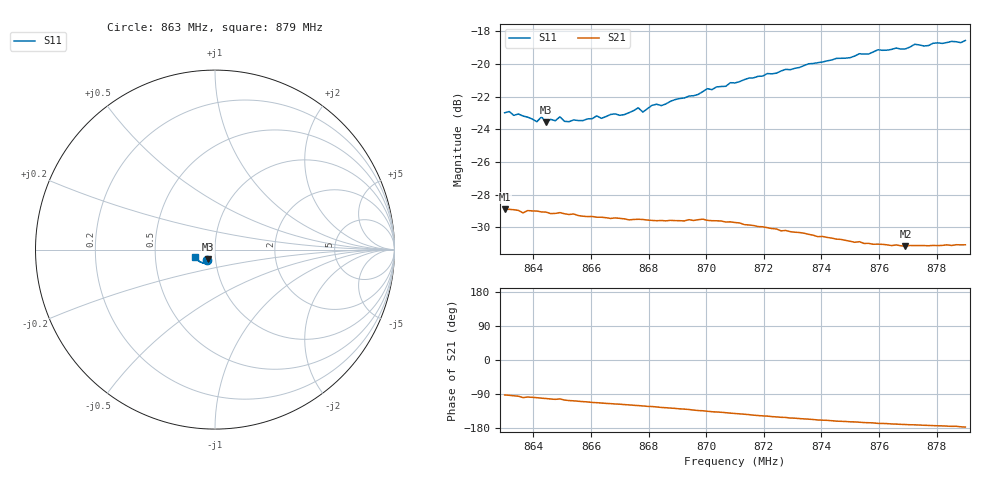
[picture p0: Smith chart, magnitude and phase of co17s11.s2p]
# HZ S RI R 50
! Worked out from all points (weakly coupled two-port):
!   101 points, 863 MHz to 879 MHz, reference 50 ohm
!   highest |S21| = -28.90 dB at 863 MHz (marker M1); lowest = -31.2 dB at 876.92 MHz (marker M2)
!   lowest |S11| = -23.6 dB at 864.44 MHz (marker M3), VSWR 1.14, Z = 46 - j5.01 ohm
!   |S11| at or under -10 dB: start of sweep to end of sweep
!   S12 and S22 are empty: the file has one direction only
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8.63e8  -0.0442 -0.0554  -0.00141 -0.0359  0 0  0 0
8.6364e8  -0.0425 -0.0547  -0.00557 -0.0345  0 0  0 0
8.6412e8  -0.0393 -0.0537  -0.00581 -0.0349  0 0  0 0
8.6428e8  -0.0396 -0.0564  -0.00659 -0.0346  0 0  0 0
8.6444e8  -0.0384 -0.0541  -0.00711 -0.0344  0 0  0 0
8.6492e8  -0.0397 -0.0563  -0.00772 -0.0342  0 0  0 0
8.6508e8  -0.0359 -0.0562  -0.00937 -0.0335  0 0  0 0
8.6572e8  -0.0342 -0.0577  -0.0116 -0.0321  0 0  0 0
8.662e8  -0.0359 -0.0593  -0.013 -0.0313  0 0  0 0
8.6636e8  -0.0359 -0.0579  -0.0135 -0.0311  0 0  0 0
8.6716e8  -0.034 -0.0612  -0.0156 -0.0297  0 0  0 0
8.6764e8  -0.0362 -0.0639  -0.0168 -0.0289  0 0  0 0
8.678e8  -0.0349 -0.0621  -0.0173 -0.0285  0 0  0 0
8.6812e8  -0.0367 -0.0651  -0.018 -0.0279  0 0  0 0
8.6844e8  -0.0362 -0.0652  -0.0191 -0.027  0 0  0 0
8.7004e8  -0.0433 -0.072  -0.0236 -0.0233  0 0  0 0
8.71e8  -0.0484 -0.0729  -0.0254 -0.0205  0 0  0 0
8.7372e8  -0.0672 -0.0746  -0.0275 -0.0117  0 0  0 0
8.7644e8  -0.092 -0.062  -0.0272 -0.00541  0 0  0 0
8.7692e8  -0.0937 -0.0601  -0.0272 -0.00467  0 0  0 0
8.7724e8  -0.1002 -0.0564  -0.0274 -0.00432  0 0  0 0
8.79e8  -0.111 -0.0404  -0.0279 -0.00145  0 0  0 0
